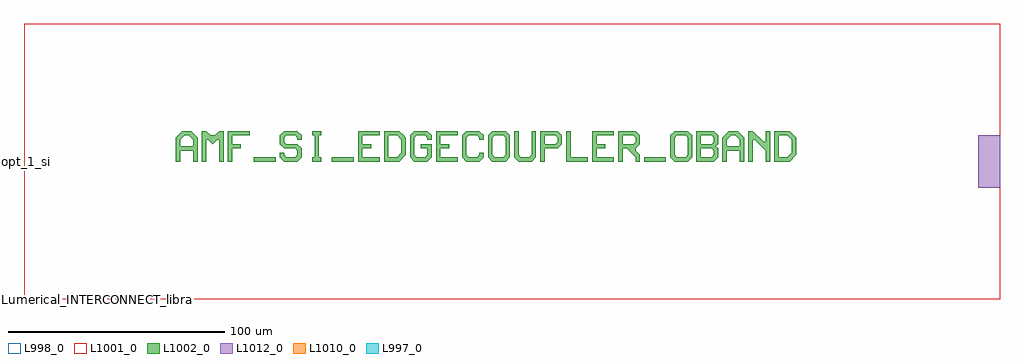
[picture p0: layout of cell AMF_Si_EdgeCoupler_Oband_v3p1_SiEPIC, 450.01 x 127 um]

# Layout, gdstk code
import gdstk
lib = gdstk.Library(unit=1e-6, precision=1e-09)
def R(c, l, rs):  # rectangles x0, y0, x1, y1
    for r in rs: c.add(gdstk.rectangle(r[:2], r[2:], *l))
def P(c, l, *ps):  # polygons
    for p in ps: c.add(gdstk.Polygon(p, *l))
L997_0 = (997, 0)
L998_0 = (998, 0)
L1001_0 = (1001, 0)
L1002_0 = (1002, 0)
L1010_0 = (1010, 0)
L1012_0 = (1012, 0)

amf_si_edgecoupler_oband = lib.new_cell('AMF_Si_EdgeCoupler_Oband_v3p1')
R(amf_si_edgecoupler_oband, L1001_0, [(0,-63.5,450,63.5)])
R(amf_si_edgecoupler_oband, L1002_0, [(106,0,116,2), (142,0,152,2), (286,0,296,2)])
P(amf_si_edgecoupler_oband, L1002_0, [(70,0),(70,11),(73,14),(77,14),(79,12),(74,12),(72,10),(72,7),(78,7),(78,10),(76,12),(79,12),(80,11),(80,0),(78,0),(78,5),(72,5),(72,0)],
  [(82,0),(82,14),(84,14),(86,12),(88,12),(90,14),(92,14),(92,0),(90,0),(90,10),(89,10),(87,8),(85,10),(84,10),(84,0)],
  [(94,0),(94,14),(104,14),(104,12),(96,12),(96,8),(100,8),(100,6),(96,6),(96,0)],
  [(120,0),(118,2),(118,4),(120,4),(120,3),(121,2),(125,2),(126,3),(126,5),(125,6),(120,6),(118,8),(118,12),(120,14),(126,14),(128,12),(128,10),(126,10),(126,11),(125,12),(121,12),(120,11),(120,9),(121,8),(126,8),(128,6),(128,2),(126,0)],
  [(133,0),(133,2),(134,2),(134,12),(133,12),(133,14),(137,14),(137,12),(136,12),(136,2),(137,2),(137,0)],
  [(154,0),(154,14),(164,14),(164,12),(156,12),(156,8),(160,8),(160,6),(156,6),(156,2),(164,2),(164,0)],
  [(166,0),(166,14),(173,14),(175,12),(168,12),(168,2),(172,2),(174,4),(174,10),(172,12),(175,12),(176,11),(176,3),(173,0)],
  [(180,0),(178,2),(178,12),(180,14),(186,14),(188,12),(188,10),(186,10),(186,11),(185,12),(181,12),(180,11),(180,3),(181,2),(185,2),(186,3),(186,6),(183,6),(183,8),(188,8),(188,2),(186,0)],
  [(190,0),(190,14),(200,14),(200,12),(192,12),(192,8),(196,8),(196,6),(192,6),(192,2),(200,2),(200,0)],
  [(204,0),(202,2),(202,12),(204,14),(210,14),(212,12),(212,10),(210,10),(210,11),(209,12),(205,12),(204,11),(204,3),(205,2),(209,2),(210,3),(210,4),(212,4),(212,2),(210,0)],
  [(216,0),(214,2),(214,12),(216,14),(222,14),(224,12),(224,7),(222,7),(222,11),(221,12),(217,12),(216,11),(216,3),(217,2),(221,2),(222,3),(222,7),(224,7),(224,2),(222,0)],
  [(228,0),(226,2),(226,14),(228,14),(228,3),(229,2),(233,2),(234,3),(234,14),(236,14),(236,2),(234,0)],
  [(238,0),(238,14),(246,14),(248,12),(248,8),(246,6),(240,6),(240,8),(245,8),(246,9),(246,11),(245,12),(240,12),(240,0)],
  [(250,0),(250,14),(252,14),(252,2),(260,2),(260,0)],
  [(262,0),(262,14),(272,14),(272,12),(264,12),(264,8),(268,8),(268,6),(264,6),(264,2),(272,2),(272,0)],
  [(274,0),(274,14),(282,14),(284,12),(276,12),(276,8),(281,8),(282,9),(282,11),(281,12),(284,12),(284,8),(282,6),(282,5),(284,3),(284,0),(282,0),(282,2),(278,6),(276,6),(276,0)],
  [(300,0),(298,2),(298,12),(300,14),(306,14),(308,12),(308,7),(306,7),(306,11),(305,12),(301,12),(300,11),(300,3),(301,2),(305,2),(306,3),(306,7),(308,7),(308,2),(306,0)],
  [(310,0),(310,14),(318,14),(320,12),(312,12),(312,8),(317,8),(318,9),(318,11),(317,12),(320,12),(320,8),(319,7),(320,6),(312,6),(312,2),(317,2),(318,3),(318,5),(317,6),(320,6),(320,2),(318,0)],
  [(322,0),(322,11),(325,14),(329,14),(331,12),(326,12),(324,10),(324,7),(330,7),(330,10),(328,12),(331,12),(332,11),(332,0),(330,0),(330,5),(324,5),(324,0)],
  [(334,0),(334,14),(336,14),(341,9),(342,9),(342,14),(344,14),(344,0),(342,0),(342,5),(337,10),(336,10),(336,0)],
  [(346,0),(346,14),(353,14),(355,12),(348,12),(348,2),(352,2),(354,4),(354,10),(352,12),(355,12),(356,11),(356,3),(353,0)])
R(amf_si_edgecoupler_oband, L1010_0, [(0,-0.205,0.41,0.205)])
R(amf_si_edgecoupler_oband, L1012_0, [(440,-12,450,12)])
amf_si_edgecoupler_oband.add(gdstk.Label('opt_1_si', (0,0), layer=1010, texttype=0))
amf_si_edgecoupler_oband.add(gdstk.Label('opt_2_si', (450,0), layer=1012, texttype=0))

c_amf_si_edgecoupler_oband = lib.new_cell('AMF_Si_EdgeCoupler_Oband_v3p1_SiEPIC')
R(c_amf_si_edgecoupler_oband, L998_0, [(0,-63.5,450,63.5)])
c_amf_si_edgecoupler_oband.add(gdstk.FlexPath([(0.01,0),(-0.01,0)], 0.41, ends="flush", simple_path=True, layer=997, datatype=0))  # L997_0
c_amf_si_edgecoupler_oband.add(gdstk.Reference(amf_si_edgecoupler_oband, (0,0)))
c_amf_si_edgecoupler_oband.add(gdstk.Label('Lumerical_INTERCONNECT_library=Design kits/AMF_CML', (0,-63.5), layer=998, texttype=0))
c_amf_si_edgecoupler_oband.add(gdstk.Label('Component=AMF_Si_EdgeCoupler_Oband_v3p1', (0,-63.4), layer=998, texttype=0))
c_amf_si_edgecoupler_oband.add(gdstk.Label('opt_1_si', (0,0), layer=997, texttype=0))
c_amf_si_edgecoupler_oband.add(gdstk.Label('opt_1_si', (0,0), layer=997, texttype=0))

lib.write_gds('AMF_Si_EdgeCoupler_Oband_v3p1_SiEPIC.gds')
